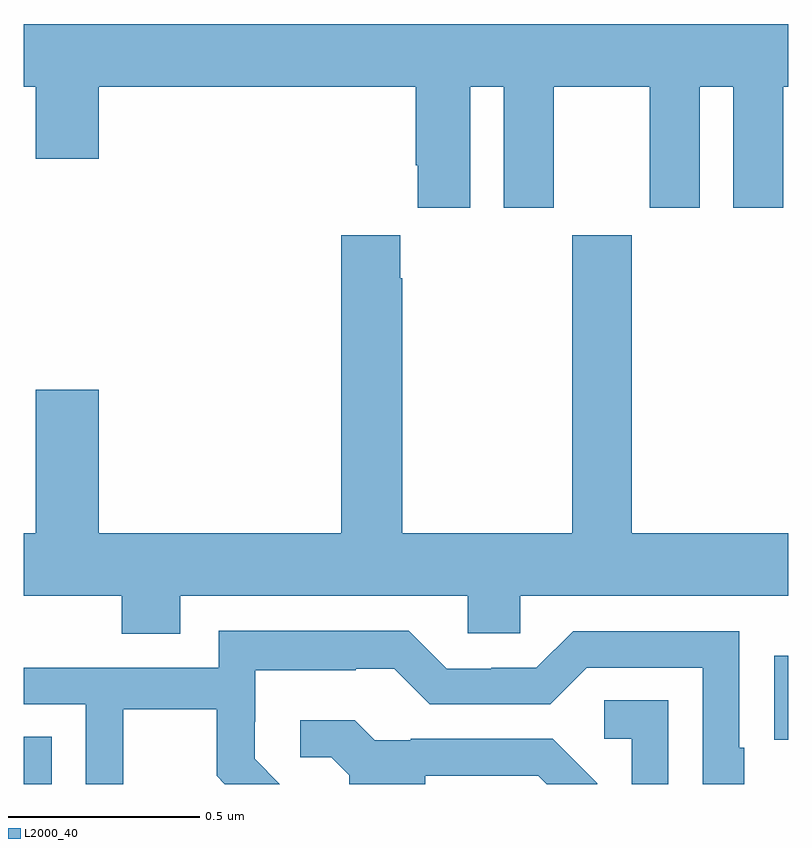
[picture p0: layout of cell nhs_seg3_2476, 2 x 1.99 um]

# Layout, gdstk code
import gdstk
lib = gdstk.Library(unit=1e-6, precision=1e-09)
def R(c, l, rs):  # rectangles x0, y0, x1, y1
    for r in rs: c.add(gdstk.rectangle(r[:2], r[2:], *l))
def P(c, l, *ps):  # polygons
    for p in ps: c.add(gdstk.Polygon(p, *l))
L2000_40 = (2000, 40)

nhs_seg3_2476 = lib.new_cell('nhs_seg3_2476')
R(nhs_seg3_2476, L2000_40, [(141,724.4,141.073,724.523), (142.963,724.516,143,724.735)])
P(nhs_seg3_2476, L2000_40, [(142.168,726.224),(142.256,726.224),(142.256,725.907),(142.387,725.907),(142.387,726.224),(142.637,726.224),(142.637,725.907),(142.768,725.907),(142.768,726.224),(142.856,726.224),(142.856,725.907),(142.987,725.907),(142.987,726.224),(143,726.224),(143,726.388),(141,726.388),(141,726.224),(141.032,726.224),(141.032,726.036),(141.196,726.036),(141.196,726.224),(142.025,726.224),(142.025,726.019),(142.031,726.019),(142.031,725.907),(142.168,725.907)],
  [(141.409,724.892),(142.161,724.892),(142.161,724.794),(142.299,724.794),(142.299,724.892),(143,724.892),(143,725.056),(142.59,725.056),(142.59,725.836),(142.435,725.836),(142.435,725.056),(141.99,725.056),(141.99,725.723),(141.985,725.723),(141.985,725.836),(141.83,725.836),(141.83,725.056),(141.196,725.056),(141.196,725.431),(141.032,725.431),(141.032,725.056),(141,725.056),(141,724.892),(141.257,724.892),(141.257,724.793),(141.409,724.793)],
  [(141.261,724.596),(141.505,724.596),(141.505,724.421),(141.526,724.4),(141.67,724.4),(141.604,724.466),(141.604,724.563),(141.606,724.563),(141.606,724.697),(141.869,724.697),(141.869,724.701),(141.969,724.701),(142.062,724.608),(142.377,724.608),(142.473,724.704),(142.776,724.704),(142.776,724.4),(142.885,724.4),(142.885,724.495),(142.872,724.495),(142.872,724.8),(142.437,724.8),(142.341,724.704),(142.223,724.704),(142.223,724.701),(142.107,724.701),(142.007,724.801),(141.51,724.801),(141.51,724.704),(141,724.704),(141,724.608),(141.162,724.608),(141.162,724.4),(141.261,724.4)],
  [(142.686,724.619),(142.518,724.619),(142.518,724.518),(142.59,724.518),(142.59,724.4),(142.686,724.4)],
  [(142.051,724.422),(142.346,724.422),(142.368,724.4),(142.5,724.4),(142.5,724.402),(142.384,724.518),(142.012,724.518),(142.012,724.515),(141.918,724.515),(141.866,724.567),(141.723,724.567),(141.723,724.47),(141.804,724.47),(141.851,724.423),(141.851,724.4),(142.051,724.4)])

lib.write_gds('nhs_seg3_2476.gds')
